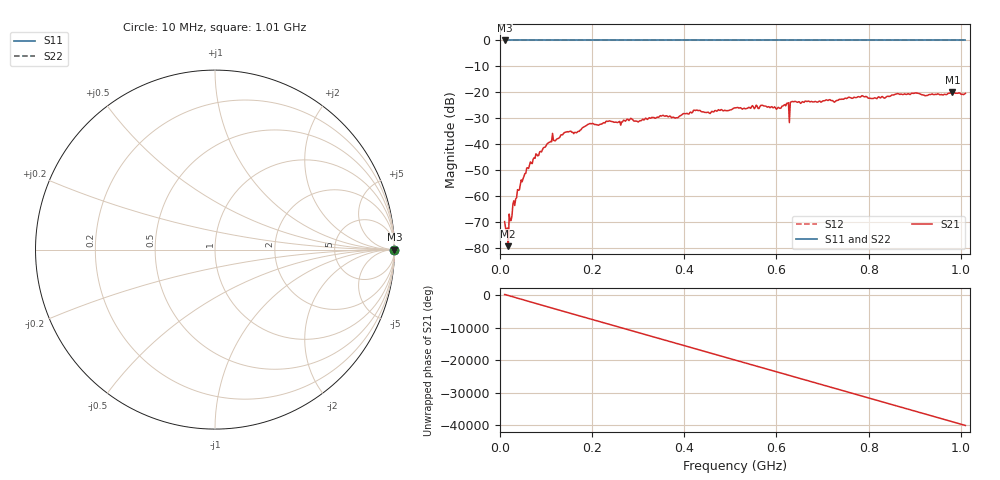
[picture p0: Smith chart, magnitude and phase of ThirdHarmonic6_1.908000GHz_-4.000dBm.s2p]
! 8/16/2025 11:01:05 PM
! C:\ANRITSUVNA\TEMP\TEMP.S2P
! CHANNEL.1
! TR.MEASUREMENT
! RAW.DATA
! RF.CORRECTION.OFF
! AVERAGING.OFF
! IF.BANDWIDTH: 5KHZ
! SWEEPTYPE:  FREQ.SWEEP(Linear)
! Reference Plane Port Info
! PORT:  PORT1  PORT2
! DISTANCE:  0  m  0  m
! TIME:  0  s  0  s
! PHASE.OFFSET:  0  deg.  0  deg.
! LOSS:  0  dB  0  dB
! REF.LOSS:  0  dB  0  dB
! REF.FREQ:  0  Hz  0  Hz
! Power Info
! POWER:  -20  dBm  -20  dBm
! EFF.POWER:  -20  dBm  -20  dBm
! SOURCE.ATTEN:  0  dB  0  dB
! TEST.ATTEN:  0  dB  0  dB
# GHZ S RI R 50.0
! FREQ.GHZ  S11RE  S11IM  S21RE  S21IM  S12RE  S12IM  S22RE  S22IM
!; PortSelection: Port_12
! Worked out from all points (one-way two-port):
!   501 points, 10 MHz to 1.01 GHz, reference 50 ohm
!   highest |S21| = -20.06 dB at 982 MHz (marker M1); lowest = -79.4 dB at 18 MHz (marker M2)
!   lowest |S11| = 0.0 dB at 10 MHz (marker M3)
!   |S11| at or under -10 dB: nowhere
!   |S22| runs from 0.0 to 0.0 dB; largest |S21 - S12| = 1.1
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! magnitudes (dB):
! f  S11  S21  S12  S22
! 10 MHz  0.0  -69.9  0.0  0.0
! 14 MHz  0.0  -74.7  0.0  0.0
! 18 MHz  0.0  -79.4  0.0  0.0
! 22 MHz  0.0  -69.5  0.0  0.0
! 24 MHz  0.0  -69.5  0.0  0.0
! 42 MHz  0.0  -57.7  0.0  0.0
! 76 MHz  0.0  -45.5  0.0  0.0
! 110 MHz  0.0  -39.0  0.0  0.0
! 178 MHz  0.0  -33.9  0.0  0.0
! 196 MHz  0.0  -32.1  0.0  0.0
! 344 MHz  0.0  -29.7  0.0  0.0
! 382 MHz  0.0  -29.9  0.0  0.0
! 424 MHz  0.0  -27.1  0.0  0.0
! 510 MHz  0.0  -26.1  0.0  0.0
! 604 MHz  0.0  -25.8  0.0  0.0
! 622 MHz  0.0  -24.3  0.0  0.0
! 624 MHz  0.0  -24.3  0.0  0.0
! 636 MHz  0.0  -23.6  0.0  0.0
! 678 MHz  0.0  -23.7  0.0  0.0
! 844 MHz  0.0  -21.6  0.0  0.0
! 982 MHz  0.0  -20.1  0.0  0.0
! 1.01 GHz  0.0  -20.4  0.0  0.0
